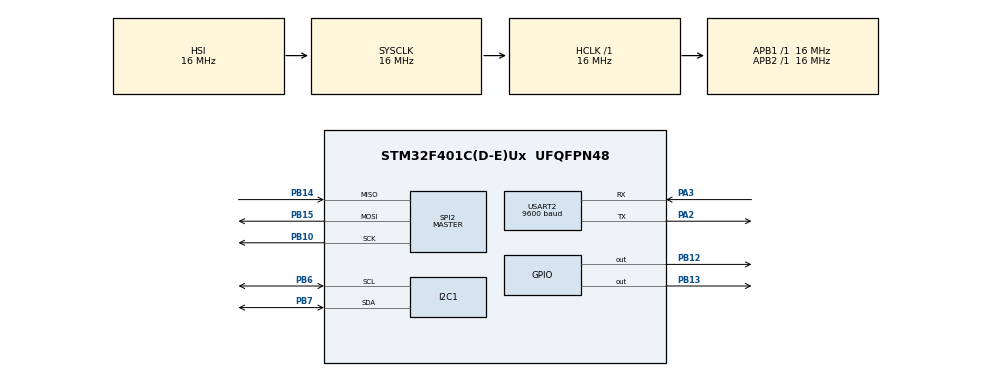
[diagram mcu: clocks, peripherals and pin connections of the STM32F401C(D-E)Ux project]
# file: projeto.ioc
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FREERTOS.Tasks01=defaultTask,24,128,StartDefaultTask,Default,NULL,Dynamic,NULL,NULL
FREERTOS.configUSE_NEWLIB_REENTRANT=1
Mcu.Family=STM32F4
Mcu.Name=STM32F401C(D-E)Ux
Mcu.Package=UFQFPN48
NVIC.PriorityGroup=NVIC_PRIORITYGROUP_4
NVIC.TIM1_UP_TIM10_IRQn=true\:15\:0\:false\:false\:true\:false\:false\:true\:true
NVIC.TimeBase=TIM1_UP_TIM10_IRQn
NVIC.TimeBaseIP=TIM1
PA13.Mode=Serial_Wire
PA13.Signal=SYS_JTMS-SWDIO
PA14.Mode=Serial_Wire
PA14.Signal=SYS_JTCK-SWCLK
PA2.Mode=Asynchronous
PA2.Signal=USART2_TX
PA3.Mode=Asynchronous
PA3.Signal=USART2_RX
PB10.Mode=Full_Duplex_Master
PB10.Signal=SPI2_SCK
PB12.Signal=GPIO_Output
PB13.Signal=GPIO_Output
PB14.Mode=Full_Duplex_Master
PB14.Signal=SPI2_MISO
PB15.Mode=Full_Duplex_Master
PB15.Signal=SPI2_MOSI
PB6.Mode=I2C
PB6.Signal=I2C1_SCL
PB7.Mode=I2C
PB7.Signal=I2C1_SDA
PH0\ -\ OSC_IN.Mode=HSE-External-Oscillator
PH0\ -\ OSC_IN.Signal=RCC_OSC_IN
PH1\ -\ OSC_OUT.Mode=HSE-External-Oscillator
PH1\ -\ OSC_OUT.Signal=RCC_OSC_OUT
ProjectManager.HeapSize=0x200
ProjectManager.StackSize=0x400
ProjectManager.TargetToolchain=STM32CubeIDE
RCC.AHBFreq_Value=16000000
RCC.APB1Freq_Value=16000000
RCC.APB2Freq_Value=16000000
RCC.CortexFreq_Value=16000000
RCC.HSE_VALUE=25000000
RCC.HSI_VALUE=16000000
RCC.LSE_VALUE=32768
RCC.SYSCLKFreq_VALUE=16000000
RCC.VCOOutputFreq_Value=192000000
SPI2.BaudRatePrescaler=SPI_BAUDRATEPRESCALER_16
SPI2.CLKPhase=SPI_PHASE_2EDGE
SPI2.CLKPolarity=SPI_POLARITY_HIGH
SPI2.Direction=SPI_DIRECTION_2LINES
SPI2.Mode=SPI_MODE_MASTER
SPI2.VirtualType=VM_MASTER
USART2.BaudRate=9600
USART2.VirtualMode=VM_ASYNC
VP_FREERTOS_VS_CMSIS_V2.Mode=CMSIS_V2
VP_SYS_VS_tim1.Mode=TIM1
board=custom

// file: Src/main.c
/* USER CODE BEGIN Header */
/**
  ******************************************************************************
  * @file           : main.c
  * @brief          : Main program body
  ******************************************************************************
  * @attention
  *
  * Copyright (c) 2026 STMicroelectronics.
  * All rights reserved.
  *
  * This software is licensed under terms that can be found in the LICENSE file
  * in the root directory of this software component.
  * If no LICENSE file comes with this software, it is provided AS-IS.
  *
  ******************************************************************************
  */
/* USER CODE END Header */
#include "main.h"
#include "cmsis_os.h"

/* USER CODE BEGIN Includes */
#include "lora.h"
#include "lapesp-types.h"
#include "lapesp-protocol.h"
#include "sensor-data.h"
#include <string.h>
#include <stdio.h>
#include "BNO080.h"
#include "BME280_STM32.h"

/* USER CODE END Includes */

/* USER CODE BEGIN PTD */
typedef struct {
    uint8_t id;
    double temperatura;
    double umidade;
    double pressao;
    double altitude;
} BMEstruct;
typedef struct {
    uint8_t id;
    double gyrq0;
    double gyrq1;
    double gyrq2;
    double gyrreal;

    double accelx;
    double accely;
    double accelz;

    double magx;
    double magy;
    double magz;

} BNOstruct;

typedef enum {
    MSG_BME,
    MSG_BNO,
    MSG_ADXL
} MsgType;

typedef struct {
    MsgType type;

    union {
        BMEstruct bme;
        BNOstruct bno;
    } data;

} SensorMessage;

Sensores_Data_t sensor_data;
BME_Data_t bme_data;
BNO085_Data_t bno_data;
GPS_Data_t gps_data;
BME280_Data_t bme280;
/* USER CODE END PTD */

/* USER CODE BEGIN PD */
#define BME_READY  (1U << 0)
#define BNO_READY  (1U << 1)
#define GPS	_READY (1U << 2)

/* USER CODE END PD */

I2C_HandleTypeDef hi2c1;

UART_HandleTypeDef huart2;

/* Definitions for BME280 */
osThreadId_t BME280Handle;
const osThreadAttr_t BME280_attributes = {
  .name = "BME280",
  .stack_size = 1024 * 4,
  .priority = (osPriority_t) osPriorityNormal,
};
/* Definitions for BNO08X */
osThreadId_t BNO08XHandle;
const osThreadAttr_t BNO08X_attributes = {
  .name = "BNO08X",
  .stack_size = 128 * 4,
  .priority = (osPriority_t) osPriorityNormal,
};
/* Definitions for GPS */
osThreadId_t GPSHandle;
const osThreadAttr_t GPS_attributes = {
  .name = "GPS",
  .stack_size = 128 * 4,
  .priority = (osPriority_t) osPriorityNormal,
};
/* Definitions for Enviadados */
osThreadId_t EnviadadosHandle;
const osThreadAttr_t Enviadados_attributes = {
  .name = "EnviaDados",
  .stack_size = 2028 * 4,
  .priority = (osPriority_t) osPriorityNormal1,
};
/* Definitions for myQueue01 */
osMessageQueueId_t myQueue01Handle;
const osMessageQueueAttr_t myQueue01_attributes = {
  .name = "myQueue01"
};
/* USER CODE BEGIN PV */
osEventFlagsId_t sensorEventHandle;
osEventFlagsId_t taskReadyFlags;
/* USER CODE END PV */

void SystemClock_Config(void);
static void MX_GPIO_Init(void);
static void MX_I2C1_Init(void);
static void MX_SPI2_Init(void);
static void MX_USART2_UART_Init(void);
void StartBME(void *argument);
void StartBNO08x(void *argument);
void StartGPS(void *argument);
void StartDadosTask(void *argument);

/* USER CODE BEGIN PFP */
void Task_Blink(void *arg);
void Task_BME(void *arg);
void Task4(void *arg);
/* USER CODE END PFP */

/* USER CODE BEGIN 0 */
int _write(int file, char *ptr, int len)
{
    HAL_UART_Transmit(&huart2, (uint8_t *)ptr, len, HAL_MAX_DELAY);
    return len;
}
void Sensor_Init(void)
{

  //Init structure definition section
	BME280_Init_t BME280_InitStruct = {0};

	//Reset section
	Reset_BME280();

	/*============================ *BME280 Initialization* ============================*/

	BME280_InitStruct.Filter = FILTER_8;     				//FILTER_X
	BME280_InitStruct.Mode = BME280_NORMAL_MODE;		 	//SLEEP, NORMAL or FORCE can be written
	BME280_InitStruct.OverSampling_H = OVERSAMPLING_16;		//OVERSAMPLING_X
	BME280_InitStruct.OverSampling_P = OVERSAMPLING_16;		//OVERSAMPLING_X
	BME280_InitStruct.OverSampling_T = OVERSAMPLING_16;		//OVERSAMPLING_X
	BME280_InitStruct.SPI_EnOrDıs = SPI3_W_DISABLE;			//SPI3_W_DISABLE or SPI3_W_ENABLE can be written
	BME280_InitStruct.T_StandBy = T_SB_250;					//T_SB_X

	BME280Init(BME280_InitStruct);
}
/* USER CODE END 0 */

int main(void)
{

  /* MCU Configuration--------------------------------------------------------*/

  /* Reset of all peripherals, Initializes the Flash interface and the Systick. */
  HAL_Init();

  /* Configure the system clock */
  SystemClock_Config();

  /* Initialize all configured peripherals */
  MX_GPIO_Init();
  MX_I2C1_Init();
  MX_SPI2_Init();
  MX_USART2_UART_Init();
  /* USER CODE BEGIN 2 */
  Sensores_Data_Init(&sensor_data, &bme_data, &bno_data, &gps_data);
  Sensor_Init();
  sensorEventHandle = osEventFlagsNew(NULL);
  /* USER CODE END 2 */

  /* Init scheduler */
  osKernelInitialize();

  /* Create the queue(s) */
  /* creation of myQueue01 */
  myQueue01Handle = osMessageQueueNew (10, sizeof(SensorMessage), &myQueue01_attributes);

  /* Create the thread(s) */
  /* creation of BME280 */
  BME280Handle = osThreadNew(StartBME, (void*) &bme280, &BME280_attributes);

  /* creation of BNO08X */
  BNO08XHandle = osThreadNew(StartBNO08x, NULL, &BNO08X_attributes);

  /* creation of GPS */
  GPSHandle = osThreadNew(StartGPS, NULL, &GPS_attributes);

  /* creation of Enviadados */
  EnviadadosHandle = osThreadNew(StartDadosTask, NULL, &Enviadados_attributes);

  /* USER CODE BEGIN RTOS_THREADS */
  osThreadNew(Task_Blink, NULL, NULL);
  osThreadNew(StartBME, &bme280, &BME280_attributes);
  osThreadNew(StartDadosTask, NULL, &Enviadados_attributes);
  taskReadyFlags = osEventFlagsNew(NULL);
  /* USER CODE END RTOS_THREADS */

  /* Start scheduler */
  osKernelStart();

  /* We should never get here as control is now taken by the scheduler */

  /* Infinite loop */
  while (1)
  {

  }
}

void SystemClock_Config(void)
{
  RCC_OscInitTypeDef RCC_OscInitStruct = {0};
  RCC_ClkInitTypeDef RCC_ClkInitStruct = {0};

  /** Configure the main internal regulator output voltage
  */
  __HAL_RCC_PWR_CLK_ENABLE();
  __HAL_PWR_VOLTAGESCALING_CONFIG(PWR_REGULATOR_VOLTAGE_SCALE2);

  /** Initializes the RCC Oscillators according to the specified parameters
  * in the RCC_OscInitTypeDef structure.
  */
  RCC_OscInitStruct.OscillatorType = RCC_OSCILLATORTYPE_HSI;
  RCC_OscInitStruct.HSIState = RCC_HSI_ON;
  RCC_OscInitStruct.HSICalibrationValue = RCC_HSICALIBRATION_DEFAULT;
  RCC_OscInitStruct.PLL.PLLState = RCC_PLL_NONE;
  if (HAL_RCC_OscConfig(&RCC_OscInitStruct) != HAL_OK)
  {
    Error_Handler();
  }

  /** Initializes the CPU, AHB and APB buses clocks
  */
  RCC_ClkInitStruct.ClockType = RCC_CLOCKTYPE_HCLK|RCC_CLOCKTYPE_SYSCLK
                              |RCC_CLOCKTYPE_PCLK1|RCC_CLOCKTYPE_PCLK2;
  RCC_ClkInitStruct.SYSCLKSource = RCC_SYSCLKSOURCE_HSI;
  RCC_ClkInitStruct.AHBCLKDivider = RCC_SYSCLK_DIV1;
  RCC_ClkInitStruct.APB1CLKDivider = RCC_HCLK_DIV1;
  RCC_ClkInitStruct.APB2CLKDivider = RCC_HCLK_DIV1;

  if (HAL_RCC_ClockConfig(&RCC_ClkInitStruct, FLASH_LATENCY_0) != HAL_OK)
  {
    Error_Handler();
  }
}

static void MX_I2C1_Init(void)
{

  hi2c1.Instance = I2C1;
  hi2c1.Init.ClockSpeed = 100000;
  hi2c1.Init.DutyCycle = I2C_DUTYCYCLE_2;
  hi2c1.Init.OwnAddress1 = 0;
  hi2c1.Init.AddressingMode = I2C_ADDRESSINGMODE_7BIT;
  hi2c1.Init.DualAddressMode = I2C_DUALADDRESS_DISABLE;
  hi2c1.Init.OwnAddress2 = 0;
  hi2c1.Init.GeneralCallMode = I2C_GENERALCALL_DISABLE;
  hi2c1.Init.NoStretchMode = I2C_NOSTRETCH_DISABLE;
  if (HAL_I2C_Init(&hi2c1) != HAL_OK)
  {
    Error_Handler();
  }

}

static void MX_SPI2_Init(void)
{

  LL_SPI_InitTypeDef SPI_InitStruct = {0};

  LL_GPIO_InitTypeDef GPIO_InitStruct = {0};

  /* Peripheral clock enable */
  LL_APB1_GRP1_EnableClock(LL_APB1_GRP1_PERIPH_SPI2);

  LL_AHB1_GRP1_EnableClock(LL_AHB1_GRP1_PERIPH_GPIOB);
  /**SPI2 GPIO Configuration
  PB10   ------> SPI2_SCK
  PB14   ------> SPI2_MISO
  PB15   ------> SPI2_MOSI
  */
  GPIO_InitStruct.Pin = LL_GPIO_PIN_10|LL_GPIO_PIN_14|LL_GPIO_PIN_15;
  GPIO_InitStruct.Mode = LL_GPIO_MODE_ALTERNATE;
  GPIO_InitStruct.Speed = LL_GPIO_SPEED_FREQ_VERY_HIGH;
  GPIO_InitStruct.OutputType = LL_GPIO_OUTPUT_PUSHPULL;
  GPIO_InitStruct.Pull = LL_GPIO_PULL_NO;
  GPIO_InitStruct.Alternate = LL_GPIO_AF_5;
  LL_GPIO_Init(GPIOB, &GPIO_InitStruct);

  /* SPI2 parameter configuration*/
  SPI_InitStruct.TransferDirection = LL_SPI_FULL_DUPLEX;
  SPI_InitStruct.Mode = LL_SPI_MODE_MASTER;
  SPI_InitStruct.DataWidth = LL_SPI_DATAWIDTH_8BIT;
  SPI_InitStruct.ClockPolarity = LL_SPI_POLARITY_HIGH;
  SPI_InitStruct.ClockPhase = LL_SPI_PHASE_2EDGE;
  SPI_InitStruct.NSS = LL_SPI_NSS_SOFT;
  SPI_InitStruct.BaudRate = LL_SPI_BAUDRATEPRESCALER_DIV2;
  SPI_InitStruct.BitOrder = LL_SPI_MSB_FIRST;
  SPI_InitStruct.CRCCalculation = LL_SPI_CRCCALCULATION_DISABLE;
  SPI_InitStruct.CRCPoly = 10;
  LL_SPI_Init(SPI2, &SPI_InitStruct);
  LL_SPI_SetStandard(SPI2, LL_SPI_PROTOCOL_MOTOROLA);

}

static void MX_USART2_UART_Init(void)
{

  huart2.Instance = USART2;
  huart2.Init.BaudRate = 9600;
  huart2.Init.WordLength = UART_WORDLENGTH_8B;
  huart2.Init.StopBits = UART_STOPBITS_1;
  huart2.Init.Parity = UART_PARITY_NONE;
  huart2.Init.Mode = UART_MODE_TX_RX;
  huart2.Init.HwFlowCtl = UART_HWCONTROL_NONE;
  huart2.Init.OverSampling = UART_OVERSAMPLING_16;
  if (HAL_UART_Init(&huart2) != HAL_OK)
  {
    Error_Handler();
  }

}

static void MX_GPIO_Init(void)
{
  LL_GPIO_InitTypeDef GPIO_InitStruct = {0};

  /* GPIO Ports Clock Enable */
  LL_AHB1_GRP1_EnableClock(LL_AHB1_GRP1_PERIPH_GPIOC);
  LL_AHB1_GRP1_EnableClock(LL_AHB1_GRP1_PERIPH_GPIOH);
  LL_AHB1_GRP1_EnableClock(LL_AHB1_GRP1_PERIPH_GPIOA);
  LL_AHB1_GRP1_EnableClock(LL_AHB1_GRP1_PERIPH_GPIOB);

  /**/
  LL_GPIO_ResetOutputPin(GPIOC, LL_GPIO_PIN_13);

  /**/
  LL_GPIO_ResetOutputPin(GPIOB, LL_GPIO_PIN_0|LL_GPIO_PIN_1);

  /**/
  GPIO_InitStruct.Pin = LL_GPIO_PIN_13;
  GPIO_InitStruct.Mode = LL_GPIO_MODE_OUTPUT;
  GPIO_InitStruct.Speed = LL_GPIO_SPEED_FREQ_LOW;
  GPIO_InitStruct.OutputType = LL_GPIO_OUTPUT_PUSHPULL;
  GPIO_InitStruct.Pull = LL_GPIO_PULL_NO;
  LL_GPIO_Init(GPIOC, &GPIO_InitStruct);

  /**/
  GPIO_InitStruct.Pin = LL_GPIO_PIN_0|LL_GPIO_PIN_1;
  GPIO_InitStruct.Mode = LL_GPIO_MODE_OUTPUT;
  GPIO_InitStruct.Speed = LL_GPIO_SPEED_FREQ_LOW;
  GPIO_InitStruct.OutputType = LL_GPIO_OUTPUT_PUSHPULL;
  GPIO_InitStruct.Pull = LL_GPIO_PULL_NO;
  LL_GPIO_Init(GPIOB, &GPIO_InitStruct);

}

/* USER CODE BEGIN 4 */

void Task_Blink(void *arg){
	(void)arg;

	while(1){
		HAL_GPIO_TogglePin(GPIOC, GPIO_PIN_13);
		osDelay(500);
	}
}

/* USER CODE END 4 */

void StartBME(void *argument)
{
  /* USER CODE BEGIN 5 */
	SensorMessage msg;
	/* Infinite loop */
    for(;;)
	{
    	BME280Calculation(&bme280);
    	msg.data.bme.id = 0x01;
		msg.type = MSG_BME;
		msg.data.bme.temperatura = bme280.Temperature;
		msg.data.bme.pressao = bme280.Pressure;
		msg.data.bme.altitude = bme280.AltitudeTP;
		msg.data.bme.umidade= bme280.Humidity;
		osMessageQueuePut(myQueue01Handle, &msg, 0, 0);
		osDelay(200);
		osEventFlagsSet(sensorEventHandle, BME_READY);
	}
}
  /* USER CODE END 5 */

void StartBNO08x(void *argument)
{
  /* USER CODE BEGIN StartBNO08x */
  /* Infinite loop */
	SensorMessage msg;
	for(;;)
  {

	msg.type = MSG_BNO;
	msg.data.bno.id = 0x02;
	msg.data.bno.gyrq0 = BNO080_getQuatI();
	msg.data.bno.gyrq1 = BNO080_getQuatJ();
	msg.data.bno.gyrq2 = BNO080_getQuatK();
	msg.data.bno.gyrreal = BNO080_getQuatReal();

	msg.data.bno.accelx = BNO080_getAccelX();
	msg.data.bno.accely = BNO080_getAccelY();
	msg.data.bno.accelz = BNO080_getAccelZ();

	msg.data.bno.magx = BNO080_getMagX();
	msg.data.bno.magy = BNO080_getMagY();
	msg.data.bno.magz = BNO080_getMagZ();
	osMessageQueuePut(myQueue01Handle, &msg, 0, 0);
    osDelay(200);
	osEventFlagsSet(sensorEventHandle, BNO_READY);
  }
  /* USER CODE END StartBNO08x */
}

void StartGPS(void *argument)
{
  for(;;)
  {
    osDelay(1);
  }
}

void StartDadosTask(void *argument)
{
	SensorMessage msg;
    for (;;)
    {
        if ((osMessageQueueGet(myQueue01Handle, &msg, 0, osWaitForever) == osOK))
        {
        	if(msg.type == MSG_BME){
        		 printf("Temperatura: %.2f\r\n", msg.data.bme.temperatura);
				printf("Pressao: %.2f\r\n", msg.data.bme.pressao);
				printf("Altitude: %.2f\r\n", msg.data.bme.altitude);
				printf("Umidade: %.2f\r\n", msg.data.bme.umidade);
        	}
        	else if(msg.type == MSG_BNO){
        		printf("ACC: %.2f %.2f %.2f\r\n", msg.data.bno.accelx,msg.data.bno.accely , msg.data.bno.accelz);
        		printf("QUAT: %.2f %.2f %.2f %.2f\r\n", msg.data.bno.gyrq0, msg.data.bno.gyrq1, msg.data.bno.gyrq2, msg.data.bno.gyrreal);
        		printf("MAG: %.2f %.2f %.2f\r\n", msg.data.bno.magx, msg.data.bno.magy, msg.data.bno.magz);
        	}
        }
    }
}

void HAL_TIM_PeriodElapsedCallback(TIM_HandleTypeDef *htim)
{
  if (htim->Instance == TIM1) {
    HAL_IncTick();
  }
}

void Error_Handler(void)
{
  __disable_irq();
  while (1)
  {
  }
}
